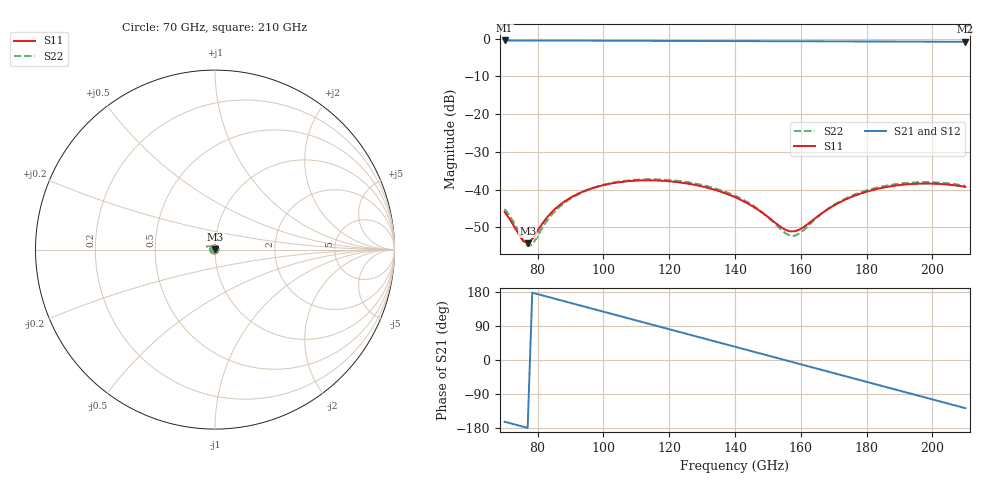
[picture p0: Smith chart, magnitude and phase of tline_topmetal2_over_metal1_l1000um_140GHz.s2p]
#  GHZ S DB R 50
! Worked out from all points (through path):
!   101 points, 70 GHz to 210 GHz, reference 50 ohm
!   highest |S21| = -0.46 dB at 70 GHz (marker M1); lowest = -0.8 dB at 210 GHz (marker M2)
!   group delay of S21, straight-line fit = 6.43 ps
!   lowest |S11| = -54.2 dB at 77 GHz (marker M3), VSWR 1.00, Z = 50.1 + j0.177 ohm
!   |S11| at or under -10 dB: start of sweep to end of sweep
!   |S22| runs from -55.0 to -37.3 dB; largest |S21 - S12| = 1.1e-14
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70  -45.91 157.3  -0.46 -162.9  -0.46 -162.9  -45.13 161.3
72.8  -49.57 136.0  -0.47 -169.4  -0.47 -169.4  -48.69 143.1
75.6  -53.58 95.5  -0.48 -175.9  -0.48 -175.9  -53.29 109.4
77  -54.20 65.2  -0.48 -179.1  -0.48 -179.1  -54.97 79.6
78.4  -53.09 37.0  -0.48 177.6  -0.48 177.6  -54.59 46.0
82.6  -47.67 -8.4  -0.49 167.9  -0.49 167.9  -48.55 -8.5
85.4  -45.06 -24.2  -0.50 161.4  -0.50 161.4  -45.60 -25.0
93.8  -40.52 -57.2  -0.52 141.9  -0.52 141.9  -40.64 -57.4
106.4  -37.86 -97.7  -0.55 112.7  -0.55 112.7  -37.68 -97.0
117.6  -37.63 -131.6  -0.58 86.8  -0.58 86.8  -37.32 -130.0
128.8  -38.91 -165.7  -0.61 60.9  -0.61 60.9  -38.53 -162.8
140  -41.99 156.8  -0.63 35.0  -0.63 35.0  -41.62 161.6
148.4  -46.20 119.4  -0.65 15.5  -0.65 15.5  -46.07 126.6
156.8  -51.06 46.3  -0.67 -4.0  -0.67 -4.0  -52.20 51.0
159.6  -50.58 13.2  -0.68 -10.5  -0.68 -10.5  -51.60 12.8
163.8  -47.96 -24.8  -0.69 -20.2  -0.69 -20.2  -48.27 -27.3
168  -45.30 -50.0  -0.70 -29.9  -0.70 -29.9  -45.23 -51.6
173.6  -42.61 -74.6  -0.72 -42.9  -0.72 -42.9  -42.35 -74.9
180.6  -40.38 -99.7  -0.74 -59.1  -0.74 -59.1  -40.04 -99.0
187.6  -39.07 -122.4  -0.76 -75.3  -0.76 -75.3  -38.70 -120.9
198.8  -38.38 -156.8  -0.79 -101.3  -0.79 -101.3  -38.04 -154.5
210  -39.28 169.1  -0.82 -127.2  -0.82 -127.2  -39.01 171.6
